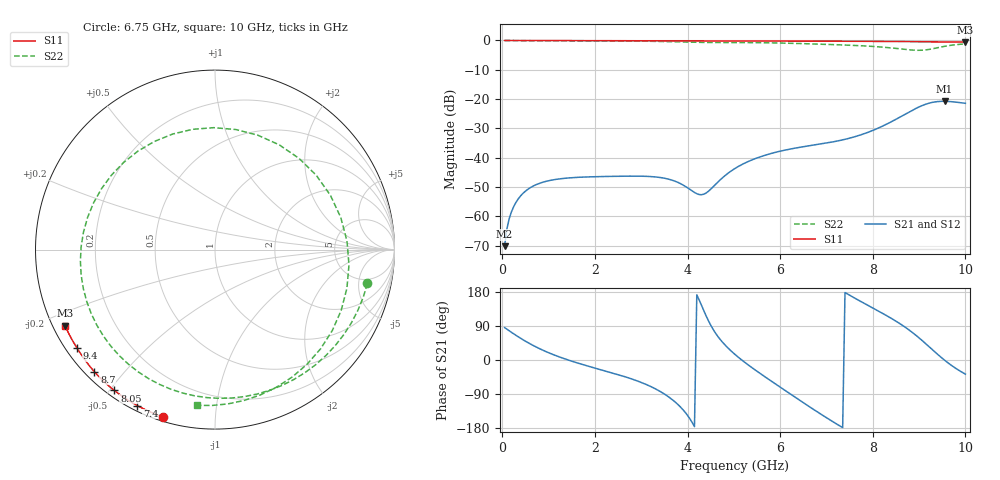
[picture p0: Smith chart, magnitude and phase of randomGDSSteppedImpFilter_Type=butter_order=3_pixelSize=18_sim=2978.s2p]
! freq	dB(S11)	phase(S11)	dB(S12)	phase(S12)
!  dB(S21)	phase(S21)	dB(S22)	phase(S22)
!S-par simulation data
#  GHz  S  DB  R 50
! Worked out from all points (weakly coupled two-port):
!   200 points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, 50 MHz to 10 GHz, reference 50 ohm
!   highest |S21| = -20.75 dB at 9.55 GHz (marker M1); lowest = -70.2 dB at 50 MHz (marker M2)
!   lowest |S11| = -0.6 dB at 10 GHz (marker M3), VSWR 30.68, Z = 1.72 - j11.9 ohm
!   |S11| at or under -10 dB: nowhere
!   |S22| runs from -3.4 to 0.0 dB; largest |S21 - S12| = 0
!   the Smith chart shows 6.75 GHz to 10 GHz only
!   S11 on the Smith chart (normalised r, x): 6.75 GHz: 0.02, -0.73; 7.4 GHz: 0.02, -0.62; 8.05 GHz: 0.02, -0.51; 8.7 GHz: 0.03, -0.42; 9.4 GHz: 0.03, -0.32; 10 GHz: 0.03, -0.24
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0.05  -0.00 -0.9  -70.17 85.5  -70.17 85.5  -0.01 -7.9
0.25  -0.01 -4.4  -56.55 68.7  -56.55 68.7  -0.06 -38.1
0.65  -0.01 -11.3  -49.81 39.4  -49.81 39.4  -0.10 -90.5
1.15  -0.02 -19.9  -47.40 11.9  -47.40 11.9  -0.12 -138.9
1.75  -0.04 -30.1  -46.60 -12.5  -46.60 -12.5  -0.13 177.3
2.75  -0.06 -46.8  -46.28 -48.2  -46.28 -48.2  -0.20 109.1
3.4  -0.08 -57.3  -46.72 -82.3  -46.72 -82.3  -0.34 50.7
3.9  -0.09 -65.2  -49.28 -131.0  -49.28 -131.0  -0.53 -11.9
4.35  -0.10 -72.1  -52.45 130.6  -52.45 130.6  -0.67 -80.3
4.75  -0.12 -78.2  -46.90 47.7  -46.90 47.7  -0.71 -140.0
5.05  -0.13 -82.7  -43.42 12.0  -43.42 12.0  -0.71 179.9
5.85  -0.16 -94.5  -38.36 -59.2  -38.36 -59.2  -0.83 86.3
6.7  -0.21 -106.7  -35.75 -128.8  -35.75 -128.8  -1.18 -7.2
6.75  -0.21 -107.4  -35.63 -132.8  -35.63 -132.8  -1.21 -12.5
7.4  -0.26 -116.5  -33.72 178.0  -33.72 178.0  -1.56 -78.5
8.05  -0.31 -125.6  -30.37 133.9  -30.37 133.9  -2.08 -142.1
8.35  -0.35 -129.8  -28.15 113.5  -28.15 113.5  -2.47 -175.2
8.7  -0.39 -134.7  -25.15 86.5  -25.15 86.5  -3.06 136.4
9.05  -0.44 -139.6  -22.32 53.1  -22.32 53.1  -3.34 69.4
9.4  -0.50 -144.4  -20.85 15.0  -20.85 15.0  -2.48 -6.5
9.55  -0.52 -146.5  -20.75 -0.4  -20.75 -0.4  -2.00 -34.7
10  -0.57 -153.1  -21.44 -37.3  -21.44 -37.3  -1.18 -96.5
